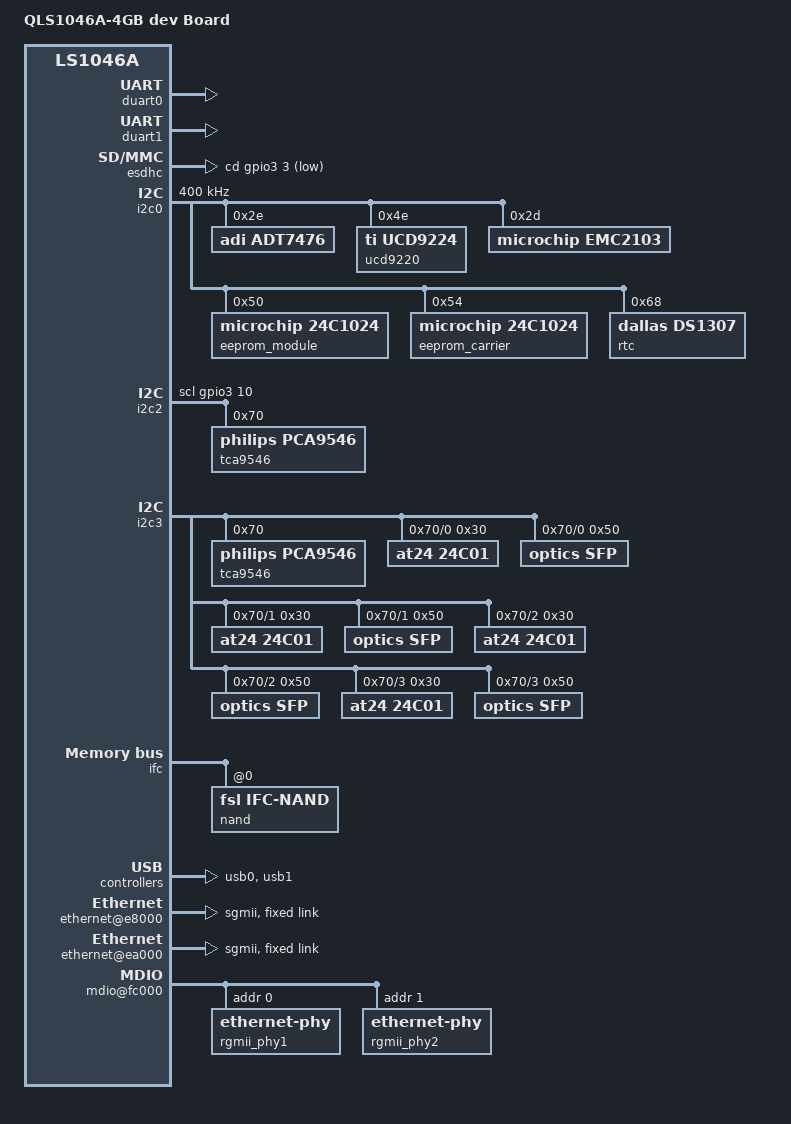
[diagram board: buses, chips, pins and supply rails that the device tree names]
// SPDX-License-Identifier: (GPL-2.0+ OR MIT)
/*
 * Device Tree Include file for Freescale Layerscape-1046A family SoC.
 *
 * Copyright 2016 Freescale Semiconductor, Inc.
 * Copyright 2017-2018 NXP
 *
 * Mingkai Hu <mingkai.hu@nxp.com>
 *
 * Copyright 2022 Scalys
 *
 * opensource@scalys.com
 */

/dts-v1/;

#include "fsl-ls1046a.dtsi"

/ {
	model = "QLS1046A-4GB dev Board";
	compatible = "fsl,ls1046a";

	aliases {
        ethernet0 = &enet2;
		ethernet1 = &enet3;
		ethernet2 = &enet4;
		ethernet3 = &enet5;
		ethernet4 = &enet6;
		ethernet5 = &enet7;
		ethernet6 = &enet0;
		ethernet7 = &enet1;
		serial0 = &duart0;
		serial1 = &duart1;
		serial2 = &duart2;
		serial3 = &duart3;
	};

	chosen {
		stdout-path = "serial0:115200n8";
	};
};

&duart0 {
	status = "okay";
};

&duart1 {
	status = "okay";
};

&esdhc {
	disable-wp;
	cd-gpios = <&gpio3 3 IRQ_TYPE_LEVEL_LOW>;
	cd-debounce-delay-ms = <10>;
	cd-inverted;
	status = "okay";
	voltage-ranges = <3300 3300>;
};

&i2c0 {
	status = "okay";
	clock-frequency = <400000>;
	
	adt7476: thermal@2e {
		compatible = "adi,adt7476";
		reg = <0x2e>;
	};
	
	ucd9220: powermanager@4e {
		compatible = "ti,ucd9224";
		reg = <0x4e>;
	};

	emc2103: thermal@2d {
		compatible = "microchip,emc2103";
		reg = <0x2d>;
	};
	
	eeprom_module@50 {
		compatible = "microchip,24c1024";
		reg = <0x50>;
	};
	
	eeprom_carrier@54 {
		compatible = "microchip,24c1024";
		reg = <0x54>;
	};
	
	
	rtc@68 {
		compatible = "dallas,ds1307";
		reg = <0x68>;
	};
	
	/* TCA6424 present on module at 0x23 */
	
	/* TCA6424 present on carrier at 0x22 */
};

&i2c1 {
	status = "disabled";
};

&i2c2 {
	/* I2C switch to PCIe connectors */
	scl-gpios = <&gpio3 10 0>;
	status = "okay";
	
	tca9546@70 {
		/* Actual device is a TI TCA9546, but they are functional compatible */
		compatible = "philips,pca9546";
		reg = <0x70>;
		#address-cells = <1>;
		#size-cells = <0>;
		
		i2c@0 {
			#address-cells = <1>;
			#size-cells = <0>;
			reg = <0>;
		};
		
		i2c@1 {
			#address-cells = <1>;
			#size-cells = <0>;
			reg = <1>;
		};
		
		i2c@2 {
			#address-cells = <1>;
			#size-cells = <0>;
			reg = <2>;
		};
		
		i2c@3 {
			#address-cells = <1>;
			#size-cells = <0>;
			reg = <3>;
		};
	};
};

&i2c3 {
	/* I2C switch to SFP/SFP+ connectors */
	status = "okay";

	tca9546@70 {
		/* Actual device is a TI TCA9546, but they are functional compatible */
		compatible = "philips,pca9546";
		reg = <0x70>;
		#address-cells = <1>;
		#size-cells = <0>;
		
		i2c@0 {
			#address-cells = <1>;
			#size-cells = <0>;
			reg = <0>;
			
			at24@30 {
				compatible = "at24,24c01";
				reg = <0x30>;
			};
			sfp@50 {
				compatible = "optics,sfp";
				reg = <0x50>;
			};
		};
		
		i2c@1 {
			#address-cells = <1>;
			#size-cells = <0>;
			reg = <1>;
			
			at24@30 {
				compatible = "at24,24c01";
				reg = <0x30>;
			};
			sfp@50 {
				compatible = "optics,sfp";
				reg = <0x50>;
			};
		};
		
		i2c@2 {
			#address-cells = <1>;
			#size-cells = <0>;
			reg = <2>;
			
			at24@30 {
				compatible = "at24,24c01";
				reg = <0x30>;
			};
			sfp@50 {
				compatible = "optics,sfp";
				reg = <0x50>;
			};
		};
		
		i2c@3 {
			#address-cells = <1>;
			#size-cells = <0>;
			reg = <3>;
			clock-frequency = <100000>;
			
			at24@30 {
				compatible = "at24,24c01";
				reg = <0x30>;
			};
			sfp@50 {
				compatible = "optics,sfp";
				reg = <0x50>;
			};

		};
	};
};

&ifc {
	#address-cells = <2>;
	#size-cells = <1>;
	ranges = <0x0 0x0 0x0 0x7e800000 0x00010000
		  0x1 0x0 0x0 0x60000000 0x02000000>;
	status = "okay";
	
	nand@0,0 {
		#address-cells = <1>;
		#size-cells = <1>;
		compatible = "fsl,ifc-nand";
		reg = <0x0 0x0 0x10000>;
		
		/* Partitions should be mapped using the mtdparts argument in the bootargs */
		status = "okay";
	};

	/*nor@1,0 {
		#address-cells = <1>;
		#size-cells = <1>;
		compatible = "cfi-flash";
		reg = <0x1 0x0 0x2000000>;
		bank-width = <1>;
		device-width = <1>;
		status = "okay";
	};*/
};

&qspi {
	status = "disabled";
};

&usb0 {
	maximum-speed = "high-speed";
	status = "okay";
};

&usb1 {
	maximum-speed = "high-speed";
	status = "okay";
};

&usb2 {
	status = "disabled";
};

#include "fsl-ls1046-post.dtsi"

&fman0 {
	ethernet@e0000 {
		status = "disabled";
	};
	
	ethernet@e2000 {
		status = "disabled";
	};
	ethernet@e4000 {
		phy-handle = <&rgmii_phy1>;
		phy-connection-type = "rgmii";
	};

	ethernet@e6000 {
		phy-handle = <&rgmii_phy2>;
		phy-connection-type = "rgmii";
	};

	ethernet@e8000 {
		phy-connection-type = "sgmii";
		status = "okay";
		fixed-link {
			speed = <1000>;
			full-duplex;
		};
	};

	ethernet@ea000 {
		phy-connection-type = "sgmii";
		status = "okay";
		fixed-link {
			speed = <1000>;
			full-duplex;
		};
	};

	ethernet@f0000 { /* 10GEC1 */
		phy-connection-type = "xgmii";
		fixed-link {
			speed = <10000>;
			full-duplex;
		};
	};

	ethernet@f2000 { /* 10GEC2 */
		phy-connection-type = "xgmii";
		fixed-link {
			speed = <10000>;
			full-duplex;
		};
	};

	mdio@fc000 {
		rgmii_phy1: ethernet-phy@0 {
			reg = <0x0>;
		};

		rgmii_phy2: ethernet-phy@1 {
			reg = <0x1>;
		};
	};
};
